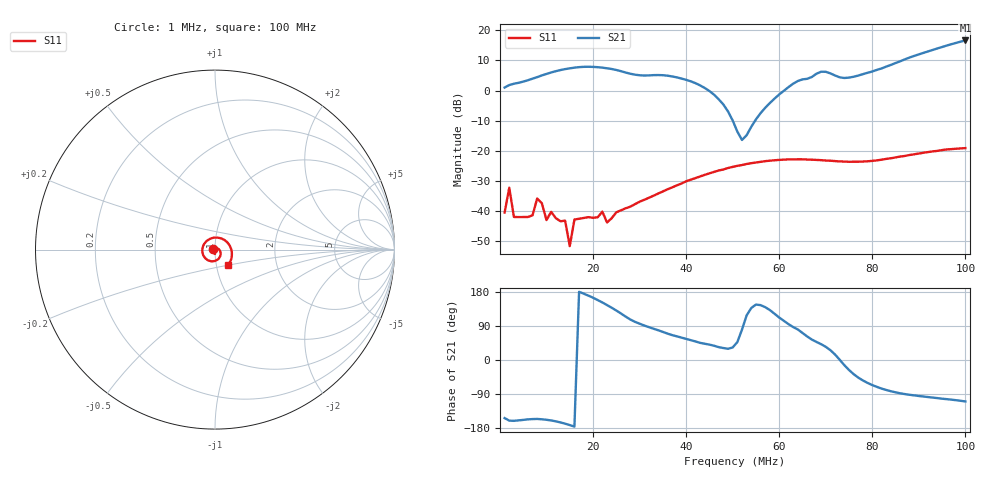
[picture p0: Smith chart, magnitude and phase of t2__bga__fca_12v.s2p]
# HZ S RI R 50
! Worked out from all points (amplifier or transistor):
!   100 points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, 1 MHz to 100 MHz, reference 50 ohm
!   highest |S21| = 16.6 dB at 100 MHz (marker M1)
!   |S21| within 3 dB of that: 93.27 MHz to end of sweep
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1000001  -0.00946 0.000659  -1.005 -0.5063  0 0  0 0
2000001  -3.64e-05 -0.0245  -1.163 -0.4223  0 0  0 0
3000001  -0.00792 0.00121  -1.226 -0.4331  0 0  0 0
1.1e7  -0.008 0.00554  -1.873 -0.7014  0 0  0 0
1.4e7  -0.00484 0.00501  -2.225 -0.4715  0 0  0 0
1.5e7  -0.00181 0.00191  -2.317 -0.3361  0 0  0 0
1.6e7  -0.0038 0.00619  -2.398 -0.1758  0 0  0 0
1.8e7  -0.00294 0.00713  -2.47 0.2144  0 0  0 0
2.5e7  0.00418 0.00861  -1.43 1.672  0 0  0 0
2.9e7  0.0103 0.00797  -0.3439 1.807  0 0  0 0
3.4e7  0.0193 0.0034  0.3614 1.775  0 0  0 0
4.3e7  0.0312 -0.021  0.86 0.8674  0 0  0 0
5.1e7  0.0165 -0.054  0.1421 0.1537  0 0  0 0
5.9e7  -0.0323 -0.062  -0.3906 0.6258  0 0  0 0
6.4e7  -0.0621 -0.0374  0.2368 1.424  0 0  0 0
6.7e7  -0.0703 -0.0125  0.9886 1.361  0 0  0 0
6.9e7  -0.0699 0.00633  1.535 1.369  0 0  0 0
7.2e7  -0.059 0.0333  1.725 0.443  0 0  0 0
7.7e7  -0.0172 0.0638  1.223 -1.292  0 0  0 0
8.4e7  0.0553 0.0514  0.3504 -2.648  0 0  0 0
9.4e7  0.0933 -0.0367  -0.9202 -4.926  0 0  0 0
1e8  0.0713 -0.0854  -2.247 -6.413  0 0  0 0
